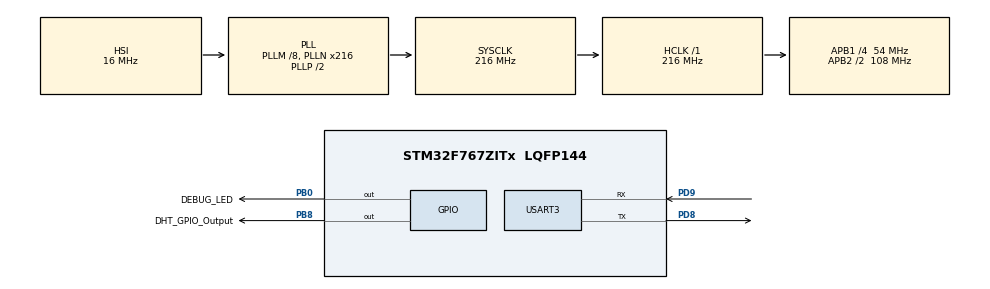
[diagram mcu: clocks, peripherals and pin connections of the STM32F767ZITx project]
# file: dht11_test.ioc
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CORTEX_M7.default_mode_Activation=1
Mcu.Family=STM32F7
Mcu.Name=STM32F767ZITx
Mcu.Package=LQFP144
NVIC.PriorityGroup=NVIC_PRIORITYGROUP_4
PB0.GPIO_Label=DEBUG_LED
PB0.Signal=GPIO_Output
PB8.GPIO_FM8=SYSCFG_PMC_I2C_PB8_FMP
PB8.GPIO_Label=DHT_GPIO_Output
PB8.GPIO_ModeDefaultOutputPP=GPIO_MODE_OUTPUT_OD
PB8.GPIO_PuPd=GPIO_PULLUP
PB8.GPIO_Speed=GPIO_SPEED_FREQ_VERY_HIGH
PB8.PinState=GPIO_PIN_SET
PB8.Signal=GPIO_Output
PD8.Mode=Asynchronous
PD8.Signal=USART3_TX
PD9.Mode=Asynchronous
PD9.Signal=USART3_RX
PH0/OSC_IN.Mode=HSE-External-Oscillator
PH0/OSC_IN.Signal=RCC_OSC_IN
PH1/OSC_OUT.Mode=HSE-External-Oscillator
PH1/OSC_OUT.Signal=RCC_OSC_OUT
ProjectManager.HeapSize=0x200
ProjectManager.StackSize=0x400
ProjectManager.TargetToolchain=STM32CubeIDE
RCC.48MHZClocksFreq_Value=24000000
RCC.AHBFreq_Value=216000000
RCC.APB1CLKDivider=RCC_HCLK_DIV4
RCC.APB1Freq_Value=54000000
RCC.APB1TimFreq_Value=108000000
RCC.APB2CLKDivider=RCC_HCLK_DIV2
RCC.APB2Freq_Value=108000000
RCC.APB2TimFreq_Value=216000000
RCC.CortexFreq_Value=216000000
RCC.HCLKFreq_Value=216000000
RCC.HSE_VALUE=16000000
RCC.HSI_VALUE=16000000
RCC.LSE_VALUE=32768
RCC.PLLM=8
RCC.PLLMUL=RCC_PLL_MUL9
RCC.PLLN=216
RCC.PRESCALERUSB=RCC_USBCLKSOURCE_PLL_DIV1_5
RCC.SYSCLKFreq_VALUE=216000000
RCC.SYSCLKSource=RCC_SYSCLKSOURCE_PLLCLK
RCC.SYSCLKSourceVirtual=RCC_SYSCLKSOURCE_PLLCLK
RCC.USBFreq_Value=216000000
RCC.VCOOutputFreq_Value=432000000
TIM2.Period=4294967295
TIM2.Prescaler=107
USART3.VirtualMode-Asynchronous=VM_ASYNC
VP_TIM2_VS_ClockSourceINT.Mode=Internal
board=NUCLEO-F767ZI

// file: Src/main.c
/* USER CODE BEGIN Header */
/**
  ******************************************************************************
  * @file           : main.c
  * @brief          : Main program body
  ******************************************************************************
  * @attention
  *
  * Copyright (c) 2026 STMicroelectronics.
  * All rights reserved.
  *
  * This software is licensed under terms that can be found in the LICENSE file
  * in the root directory of this software component.
  * If no LICENSE file comes with this software, it is provided AS-IS.
  *
  ******************************************************************************
  */
/* USER CODE END Header */
#include "main.h"

TIM_HandleTypeDef htim2;

UART_HandleTypeDef huart3;

/* USER CODE BEGIN PV */
char uart_buf[128];
uint16_t uart_buf_len;
uint8_t temperature = 0;
uint8_t humidity = 0;

/* USER CODE END PV */

void SystemClock_Config(void);
static void MPU_Config(void);
static void MX_GPIO_Init(void);
static void MX_TIM2_Init(void);
static void MX_USART3_UART_Init(void);

/* USER CODE BEGIN 0 */

void delay_us(uint32_t us) {
    __HAL_TIM_SET_COUNTER(&htim2, 0);
    while (__HAL_TIM_GET_COUNTER(&htim2) < us);
}

void Set_Pin_Output(void) {
    GPIO_InitTypeDef GPIO_InitStruct = {0};
    GPIO_InitStruct.Pin = GPIO_PIN_8;
    GPIO_InitStruct.Mode = GPIO_MODE_OUTPUT_OD;
    GPIO_InitStruct.Pull = GPIO_PULLUP;
    GPIO_InitStruct.Speed = GPIO_SPEED_FREQ_VERY_HIGH;
    HAL_GPIO_Init(GPIOB, &GPIO_InitStruct);
}

void Set_Pin_Input(void) {
    GPIO_InitTypeDef GPIO_InitStruct = {0};
    GPIO_InitStruct.Pin = GPIO_PIN_8;
    GPIO_InitStruct.Mode = GPIO_MODE_INPUT;
    GPIO_InitStruct.Pull = GPIO_PULLUP;
    HAL_GPIO_Init(GPIOB, &GPIO_InitStruct);
}

uint8_t DHT11_Read(uint8_t *humidity, uint8_t *temperature) {
    uint8_t data[5] = {0};
    uint32_t timeout = 0;

    /* 1. Host Start Signal */
    Set_Pin_Output();
    HAL_GPIO_WritePin(GPIOB, GPIO_PIN_8, GPIO_PIN_RESET);
    HAL_Delay(18); // Hold LOW for 18ms

    HAL_GPIO_WritePin(GPIOB, GPIO_PIN_8, GPIO_PIN_SET);
    delay_us(30);  // Hold HIGH for 30us

    Set_Pin_Input(); // Release line for DHT11 response

    /* 2. Wait for DHT11 Handshake (LOW -> HIGH -> LOW) */
    timeout = 0;
    while (HAL_GPIO_ReadPin(GPIOB, GPIO_PIN_8) == GPIO_PIN_SET) {
        if (++timeout > 100) return 0;
        delay_us(1);
    }

    timeout = 0;
    while (HAL_GPIO_ReadPin(GPIOB, GPIO_PIN_8) == GPIO_PIN_RESET) {
        if (++timeout > 100) return 0;
        delay_us(1);
    }

    timeout = 0;
    while (HAL_GPIO_ReadPin(GPIOB, GPIO_PIN_8) == GPIO_PIN_SET) {
        if (++timeout > 100) return 0;
        delay_us(1);
    }

    /* 3. Read 40 Bits */
    for (int j = 0; j < 5; j++) {
        for (int i = 0; i < 8; i++) {
            while (HAL_GPIO_ReadPin(GPIOB, GPIO_PIN_8) == GPIO_PIN_RESET);

            delay_us(40); // Sample in middle of high pulse

            if (HAL_GPIO_ReadPin(GPIOB, GPIO_PIN_8) == GPIO_PIN_SET) {
                data[j] |= (1 << (7 - i));
                while (HAL_GPIO_ReadPin(GPIOB, GPIO_PIN_8) == GPIO_PIN_SET);
            }
        }
    }

    /* 4. Checksum Verification */
    if (data[4] == ((data[0] + data[1] + data[2] + data[3]) & 0xFF)) {
        *humidity = data[0];
        *temperature = data[2];
        return 1;
    }

    return 0;
}

/* USER CODE END 0 */

int main(void)
{

  /* MPU Configuration--------------------------------------------------------*/
  MPU_Config();

  /* MCU Configuration--------------------------------------------------------*/

  /* Reset of all peripherals, Initializes the Flash interface and the Systick. */
  HAL_Init();

  /* Configure the system clock */
  SystemClock_Config();

  /* Initialize all configured peripherals */
  MX_GPIO_Init();
  MX_TIM2_Init();
  MX_USART3_UART_Init();
  /* USER CODE BEGIN 2 */
  // 1. Start TIM2 for microsecond tracking
  HAL_TIM_Base_Start(&htim2);

  // 2. Transmit startup banner over UART
  uart_buf_len = sprintf(uart_buf, "\r\n=== DHT11 Temperature & Humidity Sensor ===\r\n");
  HAL_UART_Transmit(&huart3, (uint8_t *)uart_buf, uart_buf_len, 100);

  uint32_t start_cycles;
  uint32_t end_cycles;
  volatile uint32_t elapsed;

  /* USER CODE END 2 */

  /* Infinite loop */
  /* USER CODE BEGIN WHILE */
  while (1)
  {
    // Debug for delay_ms() function if you see elapsed:1000 on serial monitor.
    // start_cycles = HAL_GetTick();
    // HAL_GPIO_TogglePin(DEBUG_LED_GPIO_Port, DEBUG_LED_Pin);
    // delay_us(1000000);
    // end_cycles = HAL_GetTick();
    // elapsed = end_cycles - start_cycles;

    // uart_buf_len = sprintf(uart_buf, "Elapsed: %d\r\n", elapsed);
    // HAL_UART_Transmit(&huart3, (uint8_t *)uart_buf, uart_buf_len, 100);
    /* USER CODE END WHILE */

    /* USER CODE BEGIN 3 */
    if (DHT11_Read(&humidity, &temperature)) {
          uart_buf_len = sprintf(uart_buf, "Humidity: %d %% | Temp: %d C\r\n", humidity, temperature);
      } else {
          uart_buf_len = sprintf(uart_buf, "DHT11 Reading Error / Timeout!\r\n");
      }
      HAL_UART_Transmit(&huart3, (uint8_t *)uart_buf, uart_buf_len, 100);

      // Must wait 2 seconds between reads (DHT11 hardware limitation)
      HAL_Delay(2000);
  }
  /* USER CODE END 3 */
}

void SystemClock_Config(void)
{
  RCC_OscInitTypeDef RCC_OscInitStruct = {0};
  RCC_ClkInitTypeDef RCC_ClkInitStruct = {0};

  /** Configure the main internal regulator output voltage
  */
  __HAL_RCC_PWR_CLK_ENABLE();
  __HAL_PWR_VOLTAGESCALING_CONFIG(PWR_REGULATOR_VOLTAGE_SCALE1);

  /** Initializes the RCC Oscillators according to the specified parameters
  * in the RCC_OscInitTypeDef structure.
  */
  RCC_OscInitStruct.OscillatorType = RCC_OSCILLATORTYPE_HSI;
  RCC_OscInitStruct.HSIState = RCC_HSI_ON;
  RCC_OscInitStruct.HSICalibrationValue = RCC_HSICALIBRATION_DEFAULT;
  RCC_OscInitStruct.PLL.PLLState = RCC_PLL_ON;
  RCC_OscInitStruct.PLL.PLLSource = RCC_PLLSOURCE_HSI;
  RCC_OscInitStruct.PLL.PLLM = 8;
  RCC_OscInitStruct.PLL.PLLN = 216;
  RCC_OscInitStruct.PLL.PLLP = RCC_PLLP_DIV2;
  RCC_OscInitStruct.PLL.PLLQ = 2;
  RCC_OscInitStruct.PLL.PLLR = 2;
  if (HAL_RCC_OscConfig(&RCC_OscInitStruct) != HAL_OK)
  {
    Error_Handler();
  }

  /** Activate the Over-Drive mode
  */
  if (HAL_PWREx_EnableOverDrive() != HAL_OK)
  {
    Error_Handler();
  }

  /** Initializes the CPU, AHB and APB buses clocks
  */
  RCC_ClkInitStruct.ClockType = RCC_CLOCKTYPE_HCLK|RCC_CLOCKTYPE_SYSCLK
                              |RCC_CLOCKTYPE_PCLK1|RCC_CLOCKTYPE_PCLK2;
  RCC_ClkInitStruct.SYSCLKSource = RCC_SYSCLKSOURCE_PLLCLK;
  RCC_ClkInitStruct.AHBCLKDivider = RCC_SYSCLK_DIV1;
  RCC_ClkInitStruct.APB1CLKDivider = RCC_HCLK_DIV4;
  RCC_ClkInitStruct.APB2CLKDivider = RCC_HCLK_DIV2;

  if (HAL_RCC_ClockConfig(&RCC_ClkInitStruct, FLASH_LATENCY_7) != HAL_OK)
  {
    Error_Handler();
  }
}

static void MX_TIM2_Init(void)
{

  TIM_ClockConfigTypeDef sClockSourceConfig = {0};
  TIM_MasterConfigTypeDef sMasterConfig = {0};

  htim2.Instance = TIM2;
  htim2.Init.Prescaler = 107;
  htim2.Init.CounterMode = TIM_COUNTERMODE_UP;
  htim2.Init.Period = 4294967295;
  htim2.Init.ClockDivision = TIM_CLOCKDIVISION_DIV1;
  htim2.Init.AutoReloadPreload = TIM_AUTORELOAD_PRELOAD_DISABLE;
  if (HAL_TIM_Base_Init(&htim2) != HAL_OK)
  {
    Error_Handler();
  }
  sClockSourceConfig.ClockSource = TIM_CLOCKSOURCE_INTERNAL;
  if (HAL_TIM_ConfigClockSource(&htim2, &sClockSourceConfig) != HAL_OK)
  {
    Error_Handler();
  }
  sMasterConfig.MasterOutputTrigger = TIM_TRGO_RESET;
  sMasterConfig.MasterSlaveMode = TIM_MASTERSLAVEMODE_DISABLE;
  if (HAL_TIMEx_MasterConfigSynchronization(&htim2, &sMasterConfig) != HAL_OK)
  {
    Error_Handler();
  }

}

static void MX_USART3_UART_Init(void)
{

  huart3.Instance = USART3;
  huart3.Init.BaudRate = 115200;
  huart3.Init.WordLength = UART_WORDLENGTH_8B;
  huart3.Init.StopBits = UART_STOPBITS_1;
  huart3.Init.Parity = UART_PARITY_NONE;
  huart3.Init.Mode = UART_MODE_TX_RX;
  huart3.Init.HwFlowCtl = UART_HWCONTROL_NONE;
  huart3.Init.OverSampling = UART_OVERSAMPLING_16;
  huart3.Init.OneBitSampling = UART_ONE_BIT_SAMPLE_DISABLE;
  huart3.AdvancedInit.AdvFeatureInit = UART_ADVFEATURE_NO_INIT;
  if (HAL_UART_Init(&huart3) != HAL_OK)
  {
    Error_Handler();
  }

}

static void MX_GPIO_Init(void)
{
  GPIO_InitTypeDef GPIO_InitStruct = {0};

  /* GPIO Ports Clock Enable */
  __HAL_RCC_GPIOH_CLK_ENABLE();
  __HAL_RCC_GPIOB_CLK_ENABLE();
  __HAL_RCC_GPIOD_CLK_ENABLE();

  /*Configure GPIO pin Output Level */
  HAL_GPIO_WritePin(DEBUG_LED_GPIO_Port, DEBUG_LED_Pin, GPIO_PIN_RESET);

  /*Configure GPIO pin Output Level */
  HAL_GPIO_WritePin(DHT_GPIO_Output_GPIO_Port, DHT_GPIO_Output_Pin, GPIO_PIN_SET);

  /*Configure GPIO pin : DEBUG_LED_Pin */
  GPIO_InitStruct.Pin = DEBUG_LED_Pin;
  GPIO_InitStruct.Mode = GPIO_MODE_OUTPUT_PP;
  GPIO_InitStruct.Pull = GPIO_NOPULL;
  GPIO_InitStruct.Speed = GPIO_SPEED_FREQ_LOW;
  HAL_GPIO_Init(DEBUG_LED_GPIO_Port, &GPIO_InitStruct);

  /*Configure GPIO pin : DHT_GPIO_Output_Pin */
  GPIO_InitStruct.Pin = DHT_GPIO_Output_Pin;
  GPIO_InitStruct.Mode = GPIO_MODE_OUTPUT_OD;
  GPIO_InitStruct.Pull = GPIO_PULLUP;
  GPIO_InitStruct.Speed = GPIO_SPEED_FREQ_VERY_HIGH;
  HAL_GPIO_Init(DHT_GPIO_Output_GPIO_Port, &GPIO_InitStruct);

  /**/
  HAL_I2CEx_EnableFastModePlus(SYSCFG_PMC_I2C_PB8_FMP);

}

 /* MPU Configuration */

void MPU_Config(void)
{
  MPU_Region_InitTypeDef MPU_InitStruct = {0};

  /* Disables the MPU */
  HAL_MPU_Disable();

  /** Initializes and configures the Region and the memory to be protected
  */
  MPU_InitStruct.Enable = MPU_REGION_ENABLE;
  MPU_InitStruct.Number = MPU_REGION_NUMBER0;
  MPU_InitStruct.BaseAddress = 0x0;
  MPU_InitStruct.Size = MPU_REGION_SIZE_4GB;
  MPU_InitStruct.SubRegionDisable = 0x87;
  MPU_InitStruct.TypeExtField = MPU_TEX_LEVEL0;
  MPU_InitStruct.AccessPermission = MPU_REGION_NO_ACCESS;
  MPU_InitStruct.DisableExec = MPU_INSTRUCTION_ACCESS_DISABLE;
  MPU_InitStruct.IsShareable = MPU_ACCESS_SHAREABLE;
  MPU_InitStruct.IsCacheable = MPU_ACCESS_NOT_CACHEABLE;
  MPU_InitStruct.IsBufferable = MPU_ACCESS_NOT_BUFFERABLE;

  HAL_MPU_ConfigRegion(&MPU_InitStruct);
  /* Enables the MPU */
  HAL_MPU_Enable(MPU_PRIVILEGED_DEFAULT);

}

void Error_Handler(void)
{
  __disable_irq();
  while (1)
  {
  }
}
